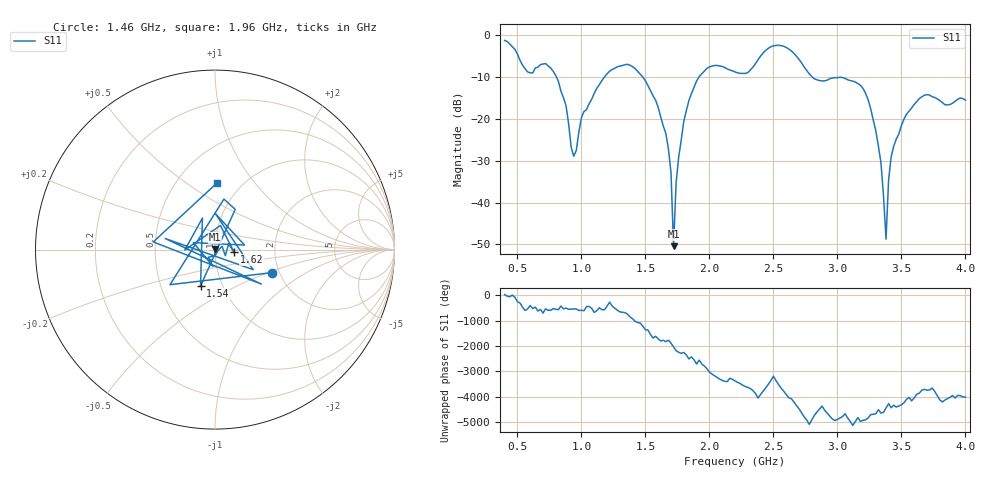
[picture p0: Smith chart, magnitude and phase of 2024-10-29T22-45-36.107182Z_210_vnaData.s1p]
!Created with skrf (http://scikit-rf.org).
# Hz S RI R 50.0
!freq ReS11 ImS11
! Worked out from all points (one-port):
!   181 points, 400 MHz to 4 GHz, reference 50 ohm
!   lowest |S11| = -50.4 dB at 1.72 GHz (marker M1), VSWR 1.01, Z = 49.9 + j0.264 ohm
!   |S11| at or under -10 dB: 806 MHz to 1.179 GHz (372.9 MHz wide, 37.6 % of centre); 1.481 GHz to 1.917 GHz (436.1 MHz wide, 25.7 % of centre); 2.806 GHz to end of sweep
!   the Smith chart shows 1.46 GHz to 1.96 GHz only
!   S11 on the Smith chart (normalised r, x): 1.46 GHz: 1.83, -0.53; 1.54 GHz: 0.79, -0.33; 1.62 GHz: 1.23, -0.03; 1.96 GHz: 0.77, +0.67
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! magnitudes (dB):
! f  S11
! 400 MHz  -1.2
! 580 MHz  -8.7
! 760 MHz  -7.8
! 860 MHz  -14.9
! 940 MHz  -28.9
! 1.02 GHz  -18.2
! 1.3 GHz  -7.3
! 1.46 GHz  -9.3
! 1.54 GHz  -13.2
! 1.62 GHz  -19.5
! 1.7 GHz  -32.8
! 1.72 GHz  -50.4
! 1.74 GHz  -35.2
! 1.76 GHz  -29.1
! 1.84 GHz  -15.6
! 1.96 GHz  -8.6
! 2.2 GHz  -8.7
! 2.66 GHz  -4.3
! 2.82 GHz  -10.4
! 3.1 GHz  -10.8
! 3.22 GHz  -13.8
! 3.3 GHz  -22.8
! 3.34 GHz  -30.4
! 3.38 GHz  -48.7
! 3.4 GHz  -34.6
! 3.42 GHz  -29.0
! 3.56 GHz  -18.1
! 4 GHz  -15.5
